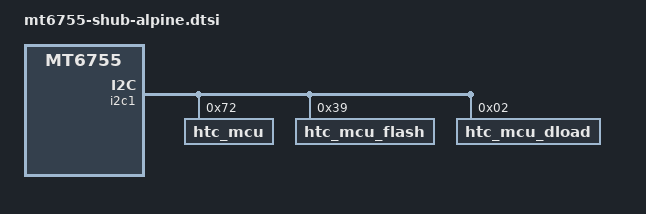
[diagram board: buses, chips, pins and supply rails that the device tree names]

&pio {
	pins_default: pins_default{
	};

	cpu2mcu_intr_high: cpu2mcu_intr_high {
		pins_cmd_dat {
			pins = <PINMUX_GPIO111__FUNC_GPIO111>;
			slew-rate = <1>;
			output-high;
			input-schmitt-enable = <0>;
		};
	};

   cpu2mcu_intr_low: cpu2mcu_intr_low {
		pins_cmd_dat {
			pins = <PINMUX_GPIO111__FUNC_GPIO111>;
			slew-rate = <1>;
			output-low;
			input-schmitt-enable = <0>;
		};
	};

/*	use ioexp 10 as below
	shub_boot_sel_high: shub_boot_sel_high {
		pins_cmd_dat {
			pins = <PINMUX_GPIO4__FUNC_GPIO4>;
			slew-rate = <1>;
			bias-pull-down = <00>;
			output-high;
			input-schmitt-enable = <0>;
		};
	};

	shub_boot_sel_low: shub_boot_sel_low {
		pins_cmd_dat {
			pins = <PINMUX_GPIO4__FUNC_GPIO4>;
			slew-rate = <1>;
			bias-pull-down = <00>;
			output-low;
			input-schmitt-enable = <0>;
		};
	};
*/

	mcp_status_high: mcp_status_high {
		pins_cmd_dat {
			pins = <PINMUX_GPIO43__FUNC_GPIO43>;
			slew-rate = <0>;
			bias-disable;
			input-schmitt-enable = <0>;
		};
	};

	mcp_status_low: mcp_status_low {
		pins_cmd_dat {
			pins = <PINMUX_GPIO43__FUNC_GPIO43>;
			slew-rate = <0>;
			bias-disable;
			input-schmitt-enable = <0>;
		};
	};

	shub_rst_high: shub_rst_high {
		pins_cmd_dat {
			pins = <PINMUX_GPIO157__FUNC_GPIO157>;
			slew-rate = <1>;
			output-high;
			input-schmitt-enable = <0>;
		};
	};

	shub_rst_low: shub_rst_low {
		pins_cmd_dat {
			pins = <PINMUX_GPIO157__FUNC_GPIO157>;
			slew-rate = <1>;
			output-low;
			input-schmitt-enable = <0>;
		};
	};

	shub_rst_input_high: shub_rst_input_high {
		pins_cmd_dat {
			pins = <PINMUX_GPIO157__FUNC_GPIO157>;
			slew-rate = <0>;
			bias-pull-up = <11>;
			input-schmitt-enable = <0>;
		};
	};

	shub_rst_input_low: shub_rst_input_low {
		pins_cmd_dat {
			pins = <PINMUX_GPIO157__FUNC_GPIO157>;
			slew-rate = <0>;
			bias-pull-up = <00>;
			input-schmitt-enable = <0>;
		};
	};
	hub2cpu_intr_high: hub2cpu_intr_high {
		pins_cmd_dat {
			pins = <PINMUX_GPIO5__FUNC_GPIO5>;
			slew-rate = <0>;
			bias-disable;
			input-schmitt-enable = <0>;
		};
	};

	hub2cpu_intr_low: hub2cpu_intr_low {
		pins_cmd_dat {
			pins = <PINMUX_GPIO5__FUNC_GPIO5>;
			slew-rate = <0>;
			bias-disable;
			input-schmitt-enable = <0>;
		};
	};

	shub_sr_1v8_sel_high: shub_sr_1v8_sel_high {
		pins_cmd_dat {
			pins = <PINMUX_GPIO8__FUNC_GPIO8>;
			slew-rate = <1>;
			output-high;
			input-schmitt-enable = <0>;
		};
	};

	shub_sr_1v8_sel_low: shub_sr_1v8_sel_low {
		pins_cmd_dat {
			pins = <PINMUX_GPIO8__FUNC_GPIO8>;
			slew-rate = <1>;
			output-low;
			input-schmitt-enable = <0>;
		};
	};
};

&tca6418 {
	Chip_mode-gpio_high {
		shub_boot_sel_high: shub_boot_sel_high {
			config {
				pins = "gpio10";
				output-high;
				bias-disable;
			};
		};
	};

	Chip_mode-gpio_low {
		shub_boot_sel_low: shub_boot_sel_low {
			config {
				pins = "gpio10";
				output-low;
				bias-disable;
			};
		};
	};
};

&i2c1 {

		htc_mcu@72{
				compatible = "htc_mcu";
				reg = <0x72>;

				mcu,intr-gpio  = <5>;
				mcu,gs_chip_layout = <1>;
				mcu,acceleration_axes = <7>;
				mcu,magnetic_axes = <7>;
				mcu,gyro_axes = <7>;
				mcu,Cpu_wake_mcu-gpio = <111>;
				mcu,Reset-gpio = <157>;
//				mcu,Chip_mode-gpio = <4>;//use ioexp 10
				mcu,Chip_mode-gpio_ioexp = <&tca6418 10 0>;
				mcu,mcu_status-gpio = <43>;
				mcu,pcb-id = <1>;
				mcu,als_levels  = <6 17 27 131 264 1763 2645 4761 6525 65535>;
				mcu,als_levels_2 = <15 23 37 174 348 2326 3490 6283 9774 65535>;
				mcu,als_goldl = <0xDD>;			//need hw/optical provide gadc_l
				mcu,als_goldh = <0x0B>;			//need hw/optical provide gadc_h
//BACKLIGHT20 ++
				mcu,als_polling = <1>;
				mcu,als_lux_ratio_n = <29>;      // Numerator,     eg: 870/gadc = 0.29,  als_lux_ratio_n = 29, als_lux_ratio_d = 100
				mcu,als_lux_ratio_d = <100>;     // Denominator
//BACKLIGHT20 --
				mcu,ps_thd_add = <0x1B>;
				mcu,ps_thd_fixed = <0x15>;
//				mcu,SR_1V8 = "MT6331_POWER_LDO_VCAM_AF";
				mcu,SR_1V8-gpio = <8>;
				touch_enable = <1>;
				vibrate_ms = <40>;
				mcu,rv_calibration = <2>;
				mcu,ps_info = <1>;
				pinctrl-names = "pin_default", "pin_cfg_high", "pin_cfg_low","Chip_mode-gpio_high", "Chip_mode-gpio_low","mcu_status-gpio_high","mcu_status-gpio_low",
				"Reset-gpio_high", "Reset-gpio_low","intr-gpio_high","intr-gpio_low","shub_rst_input_high","shub_rst_input_low","sr_1v8-gpio_high","sr_1v8-gpio_low";
				pinctrl-0 = <&pins_default>;
				pinctrl-1 = <&cpu2mcu_intr_high>;
				pinctrl-2 = <&cpu2mcu_intr_low>;
				pinctrl-3 = <&shub_boot_sel_high>;
				pinctrl-4 = <&shub_boot_sel_low>;
				pinctrl-5 = <&mcp_status_high>;
				pinctrl-6 = <&mcp_status_low>;
				pinctrl-7 = <&shub_rst_high>;
				pinctrl-8 = <&shub_rst_low>;
				pinctrl-9 = <&hub2cpu_intr_high>;
				pinctrl-10 = <&hub2cpu_intr_low>;
				pinctrl-11 = <&shub_rst_input_high>;
				pinctrl-12 = <&shub_rst_input_low>;
				pinctrl-13 = <&shub_sr_1v8_sel_high>;
				pinctrl-14 = <&shub_sr_1v8_sel_low>;

				status = "okay";
			};

		htc_mcu_flash@39 {
			compatible = "htc_mcu_flash";
			reg = <0x39>;
		};

		htc_mcu_dload@02 {
			compatible = "htc_mcu_dload";
			reg = <0x02>;
		};



};
